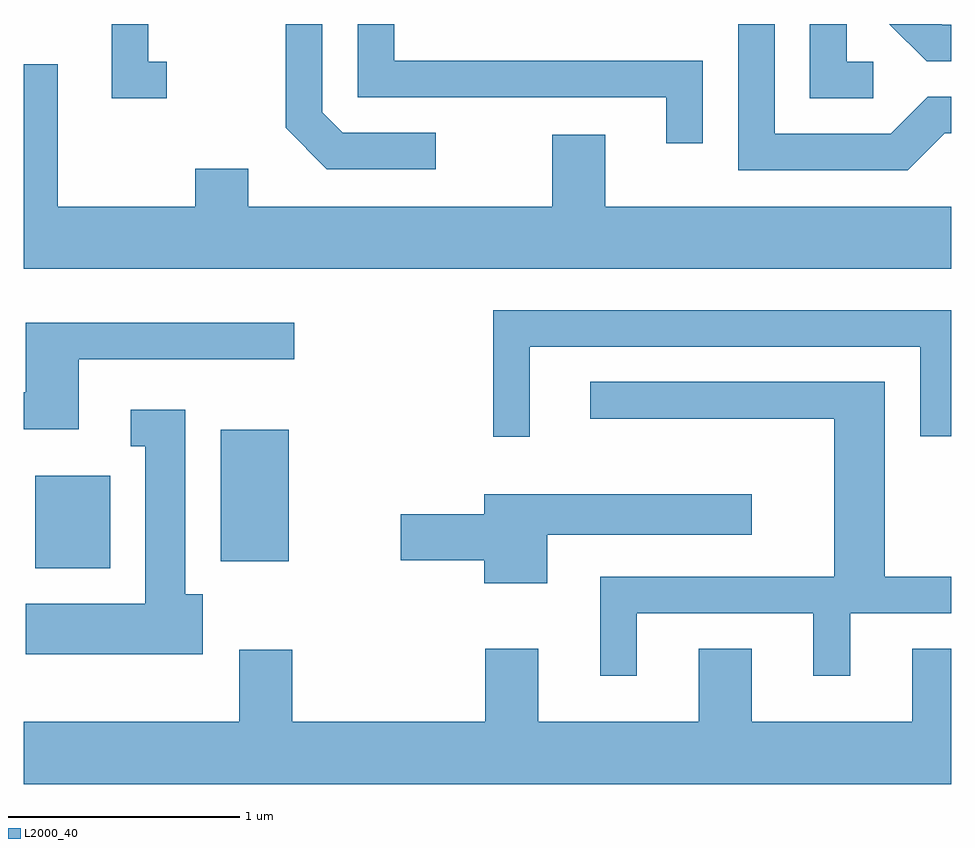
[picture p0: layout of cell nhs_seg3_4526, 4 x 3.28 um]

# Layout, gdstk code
import gdstk
lib = gdstk.Library(unit=1e-6, precision=1e-09)
def R(c, l, rs):  # rectangles x0, y0, x1, y1
    for r in rs: c.add(gdstk.rectangle(r[:2], r[2:], *l))
def P(c, l, *ps):  # polygons
    for p in ps: c.add(gdstk.Polygon(p, *l))
L2000_40 = (2000, 40)

nhs_seg3_4526 = lib.new_cell('nhs_seg3_4526')
R(nhs_seg3_4526, L2000_40, [(317.661,1193.546,317.984,1193.944), (318.461,1193.576,318.754,1194.144)])
P(nhs_seg3_4526, L2000_40, [(319.388,1195.424),(318.987,1195.424),(318.899,1195.512),(318.899,1195.892),(318.741,1195.892),(318.741,1195.444),(318.919,1195.266),(319.388,1195.266)],
  [(318.228,1195.729),(318.149,1195.729),(318.149,1195.892),(317.991,1195.892),(317.991,1195.571),(318.228,1195.571)],
  [(321.611,1195.889),(321.572,1195.889),(321.569,1195.892),(321.343,1195.892),(321.504,1195.731),(321.611,1195.731)],
  [(321.273,1195.729),(321.159,1195.729),(321.159,1195.892),(321.001,1195.892),(321.001,1195.571),(321.273,1195.571)],
  [(321.582,1195.421),(321.611,1195.421),(321.611,1195.579),(321.509,1195.579),(321.349,1195.419),(320.849,1195.419),(320.849,1195.892),(320.691,1195.892),(320.691,1195.261),(321.422,1195.261)],
  [(320.539,1195.734),(319.209,1195.734),(319.209,1195.892),(319.051,1195.892),(319.051,1195.576),(320.381,1195.576),(320.381,1195.378),(320.539,1195.378)],
  [(321.611,1195.104),(320.119,1195.104),(320.119,1195.414),(319.891,1195.414),(319.891,1195.104),(318.579,1195.104),(318.579,1195.269),(318.351,1195.269),(318.351,1195.104),(317.759,1195.104),(317.759,1195.719),(317.611,1195.719),(317.611,1194.836),(321.611,1194.836)],
  [(319.794,1194.501),(321.476,1194.501),(321.476,1194.116),(321.611,1194.116),(321.611,1194.659),(319.636,1194.659),(319.636,1194.113),(319.794,1194.113)],
  [(317.849,1194.446),(318.778,1194.446),(318.778,1194.604),(317.621,1194.604),(317.621,1194.304),(317.611,1194.304),(317.611,1194.146),(317.849,1194.146)],
  [(320.254,1193.351),(321.016,1193.351),(321.016,1193.083),(321.174,1193.083),(321.174,1193.351),(321.611,1193.351),(321.611,1193.509),(321.324,1193.509),(321.324,1194.349),(320.053,1194.349),(320.053,1194.191),(321.106,1194.191),(321.106,1193.509),(320.096,1193.509),(320.096,1193.083),(320.254,1193.083)],
  [(318.384,1193.434),(318.309,1193.434),(318.309,1194.229),(318.073,1194.229),(318.073,1194.071),(318.136,1194.071),(318.136,1193.394),(317.621,1193.394),(317.621,1193.176),(318.384,1193.176)],
  [(319.869,1193.691),(320.749,1193.691),(320.749,1193.864),(319.596,1193.864),(319.596,1193.779),(319.236,1193.779),(319.236,1193.581),(319.596,1193.581),(319.596,1193.481),(319.869,1193.481)],
  [(321.611,1193.199),(321.441,1193.199),(321.441,1192.884),(320.749,1192.884),(320.749,1193.199),(320.521,1193.199),(320.521,1192.884),(319.829,1192.884),(319.829,1193.199),(319.601,1193.199),(319.601,1192.884),(318.769,1192.884),(318.769,1193.194),(318.541,1193.194),(318.541,1192.884),(317.611,1192.884),(317.611,1192.616),(321.611,1192.616)])

lib.write_gds('nhs_seg3_4526.gds')
